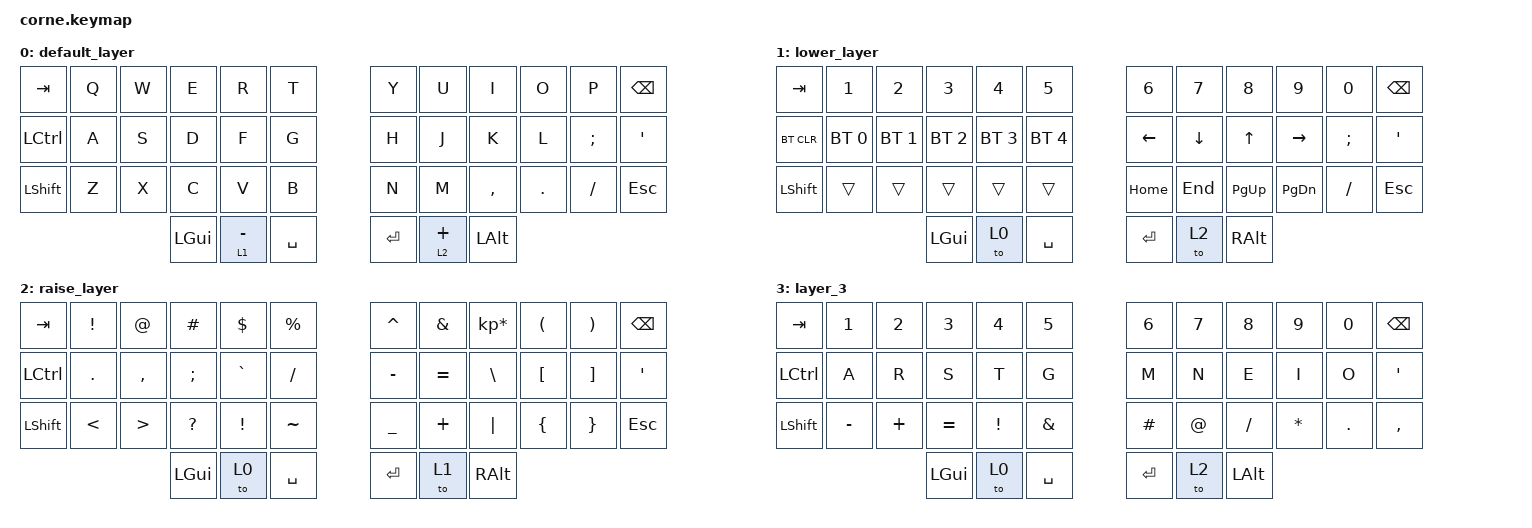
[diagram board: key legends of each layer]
/*
 * Copyright (c) 2020 The ZMK Contributors
 *
 * SPDX-License-Identifier: MIT
 */

#include <behaviors.dtsi>
#include <dt-bindings/zmk/bt.h>
#include <dt-bindings/zmk/keys.h>

/ {
    combos {
        compatible = "zmk,combos";

        f1 {
            bindings = <&kp F1>;
            key-positions = <25 1>;
        };

        f2 {
            bindings = <&kp F2>;
            key-positions = <25 2>;
        };

        f3 {
            bindings = <&kp F3>;
            key-positions = <25 3>;
        };

        f4 {
            bindings = <&kp F4>;
            key-positions = <25 4>;
        };

        f5 {
            bindings = <&kp F5>;
            key-positions = <25 5>;
        };

        f6 {
            bindings = <&kp F6>;
            key-positions = <25 6>;
        };

        f7 {
            bindings = <&kp F7>;
            key-positions = <25 7>;
        };

        f8 {
            bindings = <&kp F8>;
            key-positions = <25 8>;
        };

        f9 {
            bindings = <&kp F9>;
            key-positions = <25 9>;
        };

        f10 {
            bindings = <&kp F10>;
            key-positions = <25 10>;
        };

        f11 {
            bindings = <&kp F11>;
            key-positions = <25 11>;
        };

        reset {
            bindings = <&sys_reset>;
            key-positions = <37 40>;
        };

        tab {
            bindings = <&kp TAB>;
            key-positions = <38 29>;
        };

        globe {
            bindings = <&kp GLOBE>;
            key-positions = <39 30>;
        };

        k1 {
            bindings = <&kp NUMBER_1>;
            key-positions = <1 13>;
        };

        k2 {
            bindings = <&kp NUMBER_2>;
            key-positions = <14 2>;
        };

        k3 {
            bindings = <&kp NUMBER_3>;
            key-positions = <15 3>;
        };

        k4 {
            bindings = <&kp NUMBER_4>;
            key-positions = <4 16>;
        };

        k5 {
            bindings = <&kp N5>;
            key-positions = <5 17>;
        };

        k6 {
            bindings = <&kp NUMBER_6>;
            key-positions = <18 6>;
        };

        k7 {
            bindings = <&kp N7>;
            key-positions = <7 19>;
        };

        k8 {
            bindings = <&kp N8>;
            key-positions = <20 8>;
        };

        k9 {
            bindings = <&kp KP_NUMBER_9>;
            key-positions = <21 9>;
        };

        k0 {
            bindings = <&kp N0>;
            key-positions = <10 22>;
        };
    };

    keymap {
        compatible = "zmk,keymap";

        default_layer {
            // -----------------------------------------------------------------------------------------
            // |  TAB |  Q  |  W  |  E  |  R  |  T  |   |  Y  |  U   |  I  |  O  |  P  | BKSP |
            // | CTRL |  A  |  S  |  D  |  F  |  G  |   |  H  |  J   |  K  |  L  |  ;  |  '   |
            // | SHFT |  Z  |  X  |  C  |  V  |  B  |   |  N  |  M   |  ,  |  .  |  /  | ESC  |
            //                    | GUI | LWR | SPC |   | ENT | RSE  | ALT |

            bindings = <
&kp TAB    &kp Q  &kp W  &kp E     &kp R        &kp T        &kp Y    &kp U       &kp I         &kp O    &kp P     &kp BSPC
&kp LCTRL  &kp A  &kp S  &kp D     &kp F        &kp G        &kp H    &kp J       &kp K         &kp L    &kp SEMI  &kp SQT
&kp LSHFT  &kp Z  &kp X  &kp C     &kp V        &kp B        &kp N    &kp M       &kp COMMA     &kp DOT  &kp FSLH  &kp ESC
                         &kp LGUI  &lt 1 MINUS  &kp SPACE    &kp RET  &lt 2 PLUS  &kp LEFT_ALT
            >;
        };

        lower_layer {
            // -----------------------------------------------------------------------------------------
            // |  TAB |  1  |  2  |  3  |  4  |  5  |   |  6  |  7  |  8  |  9  |  0  | BKSP |
            // | BTCLR| BT1 | BT2 | BT3 | BT4 | BT5 |   | LFT | DWN |  UP | RGT |     |      |
            // | SHFT |     |     |     |     |     |   |     |     |     |     |     |      |
            //                    | GUI |     | SPC |   | ENT |     | ALT |

            bindings = <
&kp TAB     &kp N1        &kp N2        &kp N3        &kp N4        &kp N5          &kp N6    &kp N7    &kp N8       &kp N9         &kp N0         &kp BSPC
&bt BT_CLR  &bt BT_SEL 0  &bt BT_SEL 1  &bt BT_SEL 2  &bt BT_SEL 3  &bt BT_SEL 4    &kp LEFT  &kp DOWN  &kp UP       &kp RIGHT      &kp SEMICOLON  &kp SQT
&kp LSHFT   &trans        &trans        &trans        &trans        &trans          &kp HOME  &kp END   &kp PAGE_UP  &kp PAGE_DOWN  &kp SLASH      &kp ESCAPE
                                        &kp LGUI      &to 0         &kp SPACE       &kp RET   &to 2     &kp RALT
            >;
        };

        raise_layer {
            // -----------------------------------------------------------------------------------------
            // |  TAB |  !  |  @  |  #  |  $  |  %  |   |  ^  |  &  |  *  |  (  |  )  | BKSP |
            // | CTRL |     |     |     |     |     |   |  -  |  =  |  [  |  ]  |  \  |  `   |
            // | SHFT |     |     |     |     |     |   |  _  |  +  |  {  |  }  | "|" |  ~   |
            //                    | GUI |     | SPC |   | ENT |     | ALT |

            bindings = <
&kp TAB    &kp EXCL       &kp AT            &kp HASH       &kp DLLR         &kp PRCNT    &kp CARET  &kp AMPS   &kp KP_MULTIPLY  &kp LPAR          &kp RPAR           &kp BSPC
&kp LCTRL  &kp PERIOD     &kp COMMA         &kp SEMICOLON  &kp GRAVE        &kp SLASH    &kp MINUS  &kp EQUAL  &kp BACKSLASH    &kp LEFT_BRACKET  &kp RIGHT_BRACKET  &kp SQT
&kp LSHFT  &kp LESS_THAN  &kp GREATER_THAN  &kp QUESTION   &kp EXCLAMATION  &kp TILDE    &kp UNDER  &kp PLUS   &kp PIPE         &kp LEFT_BRACE    &kp RIGHT_BRACE    &kp ESCAPE
                                            &kp LGUI       &to 0            &kp SPACE    &kp RET    &to 1      &kp RALT
            >;
        };

        layer_3 {
            bindings = <
&kp TAB    &kp N1     &kp N2    &kp N3     &kp N4           &kp N5           &kp N6     &kp N7       &kp N8     &kp N9        &kp N0      &kp BSPC
&kp LCTRL  &kp A      &kp R     &kp S      &kp T            &kp G            &kp M      &kp N        &kp E      &kp I         &kp O       &kp APOS
&kp LSHFT  &kp MINUS  &kp PLUS  &kp EQUAL  &kp EXCLAMATION  &kp AMPERSAND    &kp HASH   &kp AT_SIGN  &kp SLASH  &kp ASTERISK  &kp PERIOD  &kp COMMA
                                &kp LGUI   &to 0            &kp SPACE        &kp ENTER  &to 2        &kp LALT
            >;
        };
    };
};
